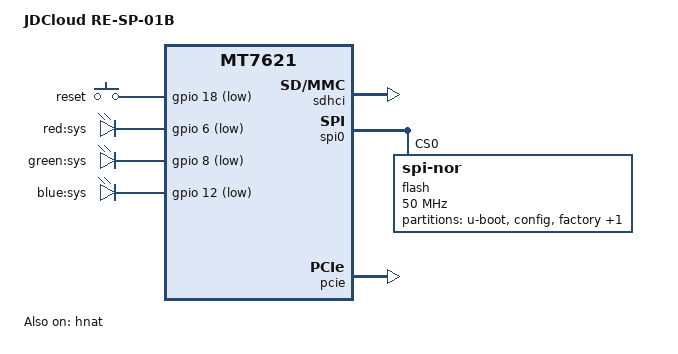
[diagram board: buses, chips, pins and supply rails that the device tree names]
// SPDX-License-Identifier: GPL-2.0-or-later OR MIT

#include "mt7621.dtsi"

#include <dt-bindings/gpio/gpio.h>
#include <dt-bindings/input/input.h>

/ {
	compatible = "jdcloud,re-sp-01b", "mediatek,mt7621-soc";
	model = "JDCloud RE-SP-01B";

	aliases {
		led-boot = &led_red;
		led-failsafe = &led_red;
		led-running = &led_green;
		led-upgrade = &led_blue;
	};

	chosen {
		bootargs = "console=ttyS0,115200";
	};

	keys {
		compatible = "gpio-keys";

		reset {
			label = "reset";
			gpios = <&gpio 18 GPIO_ACTIVE_LOW>;
			linux,code = <KEY_RESTART>;
		};
	};

	leds {
		compatible = "gpio-leds";

		led_red: red {
			label = "red:sys";
			gpios = <&gpio 6 GPIO_ACTIVE_LOW>;
			panic-indicator;
		};

		led_green: green {
			label = "green:sys";
			gpios = <&gpio 8 GPIO_ACTIVE_LOW>;
		};

		led_blue: blue {
			label = "blue:sys";
			gpios = <&gpio 12 GPIO_ACTIVE_LOW>;
		};
	};
};

&sdhci {
	status = "okay";
};

&spi0 {
	status = "okay";

	flash@0 {
		compatible = "jedec,spi-nor";
		reg = <0>;
		spi-max-frequency = <50000000>;

		partitions {
			compatible = "fixed-partitions";
			#address-cells = <1>;
			#size-cells = <1>;

			partition@0 {
				label = "u-boot";
				reg = <0x0 0x30000>;
				read-only;
			};

			partition@30000 {
				label = "config";
				reg = <0x30000 0x10000>;
				read-only;
			};

			factory: partition@40000 {
				label = "factory";
				reg = <0x40000 0x10000>;
				read-only;
			};

			partition@50000 {
				compatible = "denx,uimage";
				label = "firmware";
				reg = <0x50000 0x1fb0000>;
			};

		};
	};
};

&gmac0 {
	nvmem-cells = <&macaddr_factory_e000>;
	nvmem-cell-names = "mac-address";
};

&gmac1 {
	nvmem-cells = <&macaddr_factory_e000>;
	nvmem-cell-names = "mac-address";
	mac-address-increment = <(-2)>;
};

&switch0 {
	/* must delete compatible property */
	/delete-property/ compatible;
};

&hnat {
        mtketh-wan = "eth1";
        mtketh-ppd = "eth0";
        mtketh-lan = "eth0";
	ext-devices = "wlan0","wlan1","rax0","ra0", "rai0","apclii0","apclix0", "apcli0";
        mtketh-max-gmac = <2>;
        status = "okay";
};

&gsw {
	mediatek,mdio = <&mdio>;
	mediatek,portmap = "wllll";
	mediatek,mcm;
	mt7530,direct-phy-access;

	resets = <&rstctrl 2>;
	reset-names = "mcm";

	port5: port@5 {
		compatible = "mediatek,mt753x-port";
		reg = <5>;
		phy-mode = "rgmii";
		fixed-link {
			speed = <1000>;
			full-duplex;
		};
	};

	port6: port@6 {
		compatible = "mediatek,mt753x-port";
		reg = <6>;
		phy-mode = "rgmii";
		fixed-link {
			speed = <1000>;
			full-duplex;
		};
	};

	mdio-bus {
		#address-cells = <1>;
		#size-cells = <0>;
	};
};


&pcie {
	status = "okay";
};

&pcie0 {
	wifi@0,0 {
		reg = <0x0000 0 0 0 0>;
		mediatek,mtd-eeprom = <&factory 0x0>;
	};
};

&pcie1 {
	wifi@0,0 {
		reg = <0x0000 0 0 0 0>;
		mediatek,mtd-eeprom = <&factory 0x8000>;
		ieee80211-freq-limit = <5000000 6000000>;
	};
};

&state_default {
	gpio {
		groups = "uart2", "uart3", "wdt";
		function = "gpio";
	};
};

&factory {
	compatible = "nvmem-cells";
	#address-cells = <1>;
	#size-cells = <1>;

	macaddr_factory_4: macaddr@4 {
		reg = <0x4 0x6>;
	};

	macaddr_factory_e000: macaddr@e000 {
		reg = <0xe000 0x6>;
	};

	macaddr_factory_e006: macaddr@e006 {
		reg = <0xe006 0x6>;
	};
};
